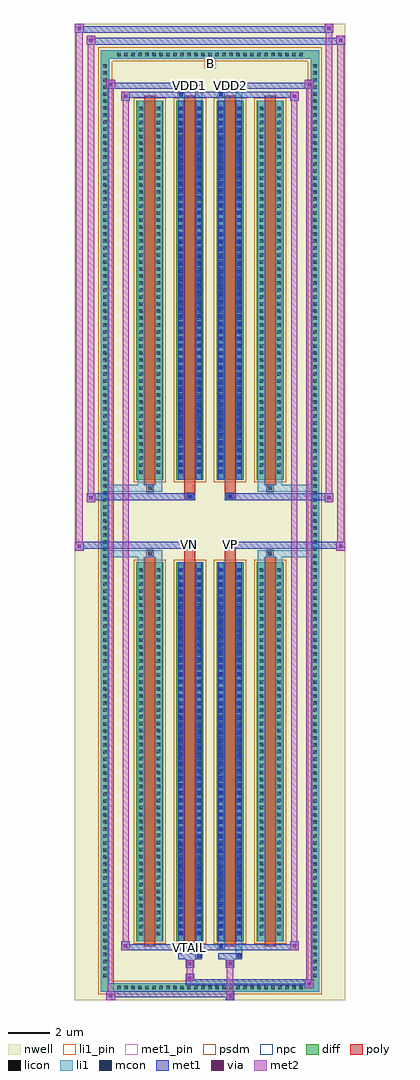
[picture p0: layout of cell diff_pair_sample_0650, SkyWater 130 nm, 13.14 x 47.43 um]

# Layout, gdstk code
import gdstk
lib = gdstk.Library(unit=1e-6, precision=5e-09)
def R(c, l, rs):  # rectangles x0, y0, x1, y1
    for r in rs: c.add(gdstk.rectangle(r[:2], r[2:], *l))
def A(c, l, x, y, w, h, nx, ny, dx, dy):  # array of equal rectangles
    R(c, l, [(x+i*dx, y+j*dy, x+i*dx+w, y+j*dy+h) for i in range(nx) for j in range(ny)])
def P(c, l, *ps):  # polygons
    for p in ps: c.add(gdstk.Polygon(p, *l))
nwell = (64, 20)
diff = (65, 20)
poly = (66, 20)
licon = (66, 44)
li1_pin = (67, 16)
li1 = (67, 20)
mcon = (67, 44)
met1_pin = (68, 16)
met1 = (68, 20)
via = (68, 44)
met2 = (69, 20)
psdm = (94, 20)
npc = (95, 20)

diff_pair_sample_0650 = lib.new_cell('diff_pair_sample_0650')
R(diff_pair_sample_0650, nwell, [(-6.57,-23.28,6.57,24.15), (-3.89,-21.47,-0.01,-0.815), (0.01,-21.47,3.89,-0.815), (-3.89,0.815,-0.01,21.47), (0.01,0.815,3.89,21.47)])
A(diff_pair_sample_0650, diff, -4.625, -22.88, 0.41, 0.41, 27, 2, 0.34, 45.35)
A(diff_pair_sample_0650, diff, -5.3, -22.305, 0.41, 0.41, 1, 131, 0, 0.34)
A(diff_pair_sample_0650, diff, 4.89, -22.305, 0.41, 0.41, 1, 131, 0, 0.34)
A(diff_pair_sample_0650, diff, -3.58, -20.425, 1.31, 18.42, 4, 2, 1.95, 22.43)
R(diff_pair_sample_0650, diff, [(-4.625,-22.88,4.625,-22.47), (-5.3,-22.305,-4.89,22.305), (4.89,-22.305,5.3,22.305), (-4.625,22.47,4.625,22.88)])
P(diff_pair_sample_0650, diff, [(5.3,22.88),(-5.3,22.88),(-5.3,-22.47),(-4.89,-22.47),(-4.89,22.47),(4.89,22.47),(4.89,-22.47),(-4.89,-22.47),(-5.3,-22.47),(-5.3,-22.88),(5.3,-22.88)])
A(diff_pair_sample_0650, poly, -3.19, -20.675, 0.53, 18.92, 4, 2, 1.95, 22.43)
R(diff_pair_sample_0650, poly, [(-3.09,-1.755,-2.76,-1.425), (-3.09,-1.755,-2.76,-1.425), (-1.24,-1.755,-0.71,-1.345), (0.71,-1.755,1.24,-1.345), (2.76,-1.755,3.09,-1.425), (2.76,-1.755,3.09,-1.425), (-1.24,-1.345,-0.71,-1.015), (-1.14,-1.345,-0.81,-1.015), (0.71,-1.345,1.24,-1.015), (0.81,-1.345,1.14,-1.015), (-1.24,1.015,-0.71,1.345), (-1.14,1.015,-0.81,1.345), (0.71,1.015,1.24,1.345), (0.81,1.015,1.14,1.345), (-1.24,1.345,-0.71,1.755), (0.71,1.345,1.24,1.755), (-3.09,1.425,-2.76,1.755), (-3.09,1.425,-2.76,1.755), (2.76,1.425,3.09,1.755), (2.76,1.425,3.09,1.755)])
A(diff_pair_sample_0650, licon, -4.505, -22.76, 0.17, 0.17, 27, 2, 0.34, 45.35)
A(diff_pair_sample_0650, licon, -5.18, -22.185, 0.17, 0.17, 1, 131, 0, 0.34)
A(diff_pair_sample_0650, licon, 5.01, -22.185, 0.17, 0.17, 1, 131, 0, 0.34)
A(diff_pair_sample_0650, licon, -3.44, -20.14, 0.17, 0.17, 1, 53, 0, 0.34)
A(diff_pair_sample_0650, licon, -2.58, -20.14, 0.17, 0.17, 1, 53, 0, 0.34)
A(diff_pair_sample_0650, licon, -1.49, -20.14, 0.17, 0.17, 1, 53, 0, 0.34)
A(diff_pair_sample_0650, licon, -0.63, -20.14, 0.17, 0.17, 1, 53, 0, 0.34)
A(diff_pair_sample_0650, licon, 0.46, -20.14, 0.17, 0.17, 1, 53, 0, 0.34)
A(diff_pair_sample_0650, licon, 1.32, -20.14, 0.17, 0.17, 1, 53, 0, 0.34)
A(diff_pair_sample_0650, licon, 2.41, -20.14, 0.17, 0.17, 1, 53, 0, 0.34)
A(diff_pair_sample_0650, licon, 3.27, -20.14, 0.17, 0.17, 1, 53, 0, 0.34)
A(diff_pair_sample_0650, licon, -3.44, 2.29, 0.17, 0.17, 1, 53, 0, 0.34)
A(diff_pair_sample_0650, licon, -2.58, 2.29, 0.17, 0.17, 1, 53, 0, 0.34)
A(diff_pair_sample_0650, licon, -1.49, 2.29, 0.17, 0.17, 1, 53, 0, 0.34)
A(diff_pair_sample_0650, licon, -0.63, 2.29, 0.17, 0.17, 1, 53, 0, 0.34)
A(diff_pair_sample_0650, licon, 0.46, 2.29, 0.17, 0.17, 1, 53, 0, 0.34)
A(diff_pair_sample_0650, licon, 1.32, 2.29, 0.17, 0.17, 1, 53, 0, 0.34)
A(diff_pair_sample_0650, licon, 2.41, 2.29, 0.17, 0.17, 1, 53, 0, 0.34)
A(diff_pair_sample_0650, licon, 3.27, 2.29, 0.17, 0.17, 1, 53, 0, 0.34)
R(diff_pair_sample_0650, licon, [(-3.01,-1.675,-2.84,-1.505), (2.84,-1.675,3.01,-1.505), (-1.06,-1.265,-0.89,-1.095), (0.89,-1.265,1.06,-1.095), (-1.06,1.095,-0.89,1.265), (0.89,1.095,1.06,1.265), (-3.01,1.505,-2.84,1.675), (2.84,1.505,3.01,1.675)])
R(diff_pair_sample_0650, li1_pin, [(-0.25,21.97,0.25,22.47)])
A(diff_pair_sample_0650, li1, -4.585, -22.84, 0.33, 0.33, 27, 2, 0.34, 45.35)
A(diff_pair_sample_0650, li1, -5.26, -22.265, 0.33, 0.33, 1, 131, 0, 0.34)
A(diff_pair_sample_0650, li1, 4.93, -22.265, 0.33, 0.33, 1, 131, 0, 0.34)
A(diff_pair_sample_0650, li1, -3.52, -20.22, 0.33, 0.33, 1, 53, 0, 0.34)
A(diff_pair_sample_0650, li1, -2.66, -20.22, 0.33, 0.33, 1, 53, 0, 0.34)
A(diff_pair_sample_0650, li1, -1.57, -20.22, 0.33, 0.33, 1, 53, 0, 0.34)
A(diff_pair_sample_0650, li1, -0.71, -20.22, 0.33, 0.33, 1, 53, 0, 0.34)
A(diff_pair_sample_0650, li1, 0.38, -20.22, 0.33, 0.33, 1, 53, 0, 0.34)
A(diff_pair_sample_0650, li1, 1.24, -20.22, 0.33, 0.33, 1, 53, 0, 0.34)
A(diff_pair_sample_0650, li1, 2.33, -20.22, 0.33, 0.33, 1, 53, 0, 0.34)
A(diff_pair_sample_0650, li1, 3.19, -20.22, 0.33, 0.33, 1, 53, 0, 0.34)
A(diff_pair_sample_0650, li1, -1.49, -20.12, 0.17, 0.17, 1, 50, 0, 0.36)
A(diff_pair_sample_0650, li1, -0.63, -20.12, 0.17, 0.17, 1, 50, 0, 0.36)
A(diff_pair_sample_0650, li1, 0.46, -20.12, 0.17, 0.17, 1, 50, 0, 0.36)
A(diff_pair_sample_0650, li1, 1.32, -20.12, 0.17, 0.17, 1, 50, 0, 0.36)
A(diff_pair_sample_0650, li1, -3.52, 2.21, 0.33, 0.33, 1, 53, 0, 0.34)
A(diff_pair_sample_0650, li1, -2.66, 2.21, 0.33, 0.33, 1, 53, 0, 0.34)
A(diff_pair_sample_0650, li1, -1.57, 2.21, 0.33, 0.33, 1, 53, 0, 0.34)
A(diff_pair_sample_0650, li1, -0.71, 2.21, 0.33, 0.33, 1, 53, 0, 0.34)
A(diff_pair_sample_0650, li1, 0.38, 2.21, 0.33, 0.33, 1, 53, 0, 0.34)
A(diff_pair_sample_0650, li1, 1.24, 2.21, 0.33, 0.33, 1, 53, 0, 0.34)
A(diff_pair_sample_0650, li1, 2.33, 2.21, 0.33, 0.33, 1, 53, 0, 0.34)
A(diff_pair_sample_0650, li1, 3.19, 2.21, 0.33, 0.33, 1, 53, 0, 0.34)
A(diff_pair_sample_0650, li1, -1.49, 2.31, 0.17, 0.17, 1, 50, 0, 0.36)
A(diff_pair_sample_0650, li1, -0.63, 2.31, 0.17, 0.17, 1, 50, 0, 0.36)
A(diff_pair_sample_0650, li1, 0.46, 2.31, 0.17, 0.17, 1, 50, 0, 0.36)
A(diff_pair_sample_0650, li1, 1.32, 2.31, 0.17, 0.17, 1, 50, 0, 0.36)
R(diff_pair_sample_0650, li1, [(-5.3,-22.88,-4.89,-22.47), (-5.3,-22.88,-4.89,-22.47), (-4.89,-22.88,4.89,-22.47), (4.89,-22.88,5.3,-22.47), (4.89,-22.88,5.3,-22.47), (-5.3,-22.47,-4.89,22.47), (4.89,-22.47,5.3,22.47), (-0.71,-21.23,-0.38,-20.425), (-0.63,-21.23,-0.46,-21.06), (1.24,-21.23,1.57,-20.425), (1.32,-21.23,1.49,-21.06), (-1.57,-20.8,-1.24,-20.425), (-1.49,-20.8,-1.32,-20.63), (0.38,-20.8,0.71,-20.425), (0.46,-20.8,0.63,-20.63), (-3.52,-20.425,-3.19,-2.005), (-2.66,-20.425,-2.33,-2.005), (-1.57,-20.425,-1.24,-2.005), (-0.71,-20.425,-0.38,-2.005), (0.38,-20.425,0.71,-2.005), (1.24,-20.425,1.57,-2.005), (2.33,-20.425,2.66,-2.005), (3.19,-20.425,3.52,-2.005), (-1.49,-20.12,-1.32,-2.31), (-0.63,-20.12,-0.46,-2.31), (0.46,-20.12,0.63,-2.31), (1.32,-20.12,1.49,-2.31), (-3.52,-2.005,-3.19,-1.425), (-2.66,-2.005,-2.33,-1.425), (2.33,-2.005,2.66,-1.425), (3.19,-2.005,3.52,-1.425), (-5.3,-1.755,-3.09,-1.425), (-3.52,-1.755,-3.09,-1.425), (-3.09,-1.755,-2.76,-1.425), (-2.76,-1.755,-2.33,-1.425), (2.33,-1.755,2.76,-1.425), (2.76,-1.755,3.09,-1.425), (2.76,-1.755,5.3,-1.425), (3.09,-1.755,3.52,-1.425), (-1.14,-1.345,-0.81,-1.015), (0.81,-1.345,1.14,-1.015), (-1.14,1.015,-0.81,1.345), (0.81,1.015,1.14,1.345), (-5.3,1.425,-3.09,1.755), (-3.52,1.425,-3.09,1.755), (-3.52,1.425,-3.19,2.005), (-3.09,1.425,-2.76,1.755), (-2.76,1.425,-2.33,1.755), (-2.66,1.425,-2.33,2.005), (2.33,1.425,2.76,1.755), (2.33,1.425,2.66,2.005), (2.76,1.425,3.09,1.755), (2.76,1.425,5.3,1.755), (3.09,1.425,3.52,1.755), (3.19,1.425,3.52,2.005), (-3.52,2.005,-3.19,20.425), (-2.66,2.005,-2.33,20.425), (-1.57,2.005,-1.24,20.425), (-0.71,2.005,-0.38,20.425), (0.38,2.005,0.71,20.425), (1.24,2.005,1.57,20.425), (2.33,2.005,2.66,20.425), (3.19,2.005,3.52,20.425), (-1.49,2.31,-1.32,20.12), (-0.63,2.31,-0.46,20.12), (0.46,2.31,0.63,20.12), (1.32,2.31,1.49,20.12), (-1.57,20.425,-1.24,20.8), (-0.71,20.425,-0.38,21.23), (0.38,20.425,0.71,20.8), (1.24,20.425,1.57,21.23), (-1.49,20.63,-1.32,20.8), (0.46,20.63,0.63,20.8), (-0.63,21.06,-0.46,21.23), (1.32,21.06,1.49,21.23), (-5.3,22.47,-4.89,22.88), (-5.3,22.47,-4.89,22.88), (-4.89,22.47,4.89,22.88), (4.89,22.47,5.3,22.88), (4.89,22.47,5.3,22.88)])
A(diff_pair_sample_0650, mcon, -1.49, -20.12, 0.17, 0.17, 1, 50, 0, 0.36)
A(diff_pair_sample_0650, mcon, -0.63, -20.12, 0.17, 0.17, 1, 50, 0, 0.36)
A(diff_pair_sample_0650, mcon, 0.46, -20.12, 0.17, 0.17, 1, 50, 0, 0.36)
A(diff_pair_sample_0650, mcon, 1.32, -20.12, 0.17, 0.17, 1, 50, 0, 0.36)
A(diff_pair_sample_0650, mcon, -1.49, 2.31, 0.17, 0.17, 1, 50, 0, 0.36)
A(diff_pair_sample_0650, mcon, -0.63, 2.31, 0.17, 0.17, 1, 50, 0, 0.36)
A(diff_pair_sample_0650, mcon, 0.46, 2.31, 0.17, 0.17, 1, 50, 0, 0.36)
A(diff_pair_sample_0650, mcon, 1.32, 2.31, 0.17, 0.17, 1, 50, 0, 0.36)
R(diff_pair_sample_0650, mcon, [(-0.63,-21.23,-0.46,-21.06), (1.32,-21.23,1.49,-21.06), (-1.49,-20.8,-1.32,-20.63), (0.46,-20.8,0.63,-20.63), (-1.06,-1.265,-0.89,-1.095), (0.89,-1.265,1.06,-1.095), (-1.06,1.095,-0.89,1.265), (0.89,1.095,1.06,1.265), (-1.49,20.63,-1.32,20.8), (0.46,20.63,0.63,20.8), (-0.63,21.06,-0.46,21.23), (1.32,21.06,1.49,21.23)])
R(diff_pair_sample_0650, met1_pin, [(-1.11,-20.84,-0.84,-20.57), (-1.11,-1.285,-0.84,-1.015), (0.84,-1.285,1.11,-1.015), (-1.11,21.02,-0.84,21.29), (0.84,21.02,1.11,21.29)])
A(diff_pair_sample_0650, met1, -1.55, -20.18, 0.29, 0.29, 1, 50, 0, 0.36)
A(diff_pair_sample_0650, met1, -0.69, -20.18, 0.29, 0.29, 1, 50, 0, 0.36)
A(diff_pair_sample_0650, met1, 0.4, -20.18, 0.29, 0.29, 1, 50, 0, 0.36)
A(diff_pair_sample_0650, met1, 1.26, -20.18, 0.29, 0.29, 1, 50, 0, 0.36)
A(diff_pair_sample_0650, met1, -1.55, 2.25, 0.29, 0.29, 1, 50, 0, 0.36)
A(diff_pair_sample_0650, met1, -0.69, 2.25, 0.29, 0.29, 1, 50, 0, 0.36)
A(diff_pair_sample_0650, met1, 0.4, 2.25, 0.29, 0.29, 1, 50, 0, 0.36)
A(diff_pair_sample_0650, met1, 1.26, 2.25, 0.29, 0.29, 1, 50, 0, 0.36)
R(diff_pair_sample_0650, met1, [(-5.03,-23.28,-4.6,-22.85), (0.76,-23.28,1.19,-22.85), (-5.03,-23.14,1.19,-22.85), (4.6,-22.71,5.03,-22.28), (-1.19,-22.57,5.03,-22.28), (-1.19,-22.43,-0.76,-22), (-1.19,-21.72,-0.76,-21.29), (0.76,-21.72,1.19,-21.29), (-1.55,-21.29,-0.4,-21), (-0.69,-21.29,-0.4,-21), (0.4,-21.29,1.55,-21), (1.26,-21.29,1.55,-21), (-4.32,-20.86,-3.89,-20.43), (-4.32,-20.86,-1.55,-20.57), (-1.55,-20.86,-1.26,-20.57), (-1.55,-20.86,-0.4,-20.57), (-0.4,-20.86,0.4,-20.57), (0.4,-20.86,0.69,-20.57), (0.4,-20.86,1.55,-20.57), (1.55,-20.86,4.32,-20.57), (3.89,-20.86,4.32,-20.43), (-1.55,-20.425,-1.26,-2.005), (-0.69,-20.425,-0.4,-2.005), (0.4,-20.425,0.69,-2.005), (1.26,-20.425,1.55,-2.005), (-6.57,-1.445,-6.14,-1.015), (6.14,-1.445,6.57,-1.015), (-6.57,-1.345,-0.71,-1.015), (-1.24,-1.345,-0.71,-1.015), (0.71,-1.345,1.24,-1.015), (0.71,-1.345,6.57,-1.015), (-1.12,-1.325,-0.83,-1.035), (0.83,-1.325,1.12,-1.035), (-6,0.915,-5.57,1.345), (5.57,0.915,6,1.345), (-6,1.015,-1.24,1.345), (-1.24,1.015,-0.71,1.345), (0.71,1.015,1.24,1.345), (1.24,1.015,6,1.345), (-1.12,1.035,-0.83,1.325), (0.83,1.035,1.12,1.325), (-1.55,2.005,-1.26,20.425), (-0.69,2.005,-0.4,20.425), (0.4,2.005,0.69,20.425), (1.26,2.005,1.55,20.425), (-4.32,20.43,-3.89,20.86), (3.89,20.43,4.32,20.86), (-4.32,20.57,-1.55,20.86), (-1.55,20.57,-1.26,20.86), (-1.55,20.57,-0.4,20.86), (-0.4,20.57,0.4,20.86), (0.4,20.57,0.69,20.86), (0.4,20.57,1.55,20.86), (1.55,20.57,4.32,20.86), (-5.03,21,-4.6,21.43), (-5.03,21,-1.55,21.29), (-1.55,21,-0.4,21.29), (-0.69,21,-0.4,21.29), (0.4,21,1.55,21.29), (1.26,21,1.55,21.29), (1.55,21,5.03,21.29), (4.6,21,5.03,21.43), (-6,23.15,-5.57,23.58), (-6,23.15,-3.89,23.48), (-3.89,23.15,3.89,23.48), (3.89,23.15,6.57,23.48), (6.14,23.15,6.57,23.58), (-6.57,23.72,-6.14,24.15), (-6.57,23.72,-3.89,24.05), (-3.89,23.72,3.89,24.05), (3.89,23.72,6,24.05), (5.57,23.72,6,24.15)])
R(diff_pair_sample_0650, via, [(-4.89,-23.14,-4.74,-22.99), (0.9,-23.14,1.05,-22.99), (4.74,-22.57,4.89,-22.42), (-1.05,-22.29,-0.9,-22.14), (-1.05,-21.58,-0.9,-21.43), (0.9,-21.58,1.05,-21.43), (-4.18,-20.72,-4.03,-20.57), (4.03,-20.72,4.18,-20.57), (-6.43,-1.305,-6.28,-1.155), (6.28,-1.305,6.43,-1.155), (-5.86,1.055,-5.71,1.205), (5.71,1.055,5.86,1.205), (-4.18,20.57,-4.03,20.72), (4.03,20.57,4.18,20.72), (-4.89,21.14,-4.74,21.29), (4.74,21.14,4.89,21.29), (-5.86,23.29,-5.71,23.44), (6.28,23.29,6.43,23.44), (-6.43,23.86,-6.28,24.01), (5.71,23.86,5.86,24.01)])
R(diff_pair_sample_0650, met2, [(-5.03,-23.28,-4.6,-22.85), (-4.96,-23.28,-4.67,21.43), (-4.67,-23.28,-4.6,-22.85), (-4.98,-23.23,-4.65,-22.9), (0.81,-23.23,1.14,-22.9), (0.81,-22.9,1.14,-21.67), (4.6,-22.71,5.03,-22.28), (4.67,-22.71,4.96,21.43), (4.96,-22.71,5.03,-22.28), (4.65,-22.66,4.98,-22.33), (-1.14,-22.38,-0.81,-22.05), (-1.14,-22.05,-0.81,-21.67), (-1.14,-21.67,-0.81,-21.34), (0.81,-21.67,1.14,-21.34), (-4.32,-20.86,-3.89,-20.43), (-4.25,-20.86,-3.96,20.86), (-3.96,-20.86,-3.89,-20.43), (3.89,-20.86,4.32,-20.43), (3.96,-20.86,4.25,20.86), (4.25,-20.86,4.32,-20.43), (-4.27,-20.81,-3.94,-20.48), (3.94,-20.81,4.27,-20.48), (-6.57,-1.445,-6.14,-1.015), (-6.52,-1.445,-6.19,24.15), (-6.19,-1.445,-6.14,-1.015), (6.14,-1.445,6.57,-1.015), (6.19,-1.445,6.52,23.58), (6.52,-1.445,6.57,-1.015), (-6.52,-1.395,-6.19,-1.065), (6.19,-1.395,6.52,-1.065), (-6,0.915,-5.57,1.345), (-5.95,0.915,-5.62,23.58), (-5.62,0.915,-5.57,1.345), (5.57,0.915,6,1.345), (5.62,0.915,5.95,24.15), (5.95,0.915,6,1.345), (-5.95,0.965,-5.62,1.295), (5.62,0.965,5.95,1.295), (-4.32,20.43,-3.89,20.86), (-3.96,20.43,-3.89,20.86), (3.89,20.43,4.32,20.86), (4.25,20.43,4.32,20.86), (-4.27,20.48,-3.94,20.81), (3.94,20.48,4.27,20.81), (-5.03,21,-4.6,21.43), (-4.67,21,-4.6,21.43), (4.6,21,5.03,21.43), (4.96,21,5.03,21.43), (-4.98,21.05,-4.65,21.38), (4.65,21.05,4.98,21.38), (-6,23.15,-5.57,23.58), (-5.62,23.15,-5.57,23.58), (6.14,23.15,6.57,23.58), (6.52,23.15,6.57,23.58), (-5.95,23.2,-5.62,23.53), (6.19,23.2,6.52,23.53), (-6.57,23.72,-6.14,24.15), (-6.19,23.72,-6.14,24.15), (5.57,23.72,6,24.15), (5.95,23.72,6,24.15), (-6.52,23.77,-6.19,24.1), (5.62,23.77,5.95,24.1)])
A(diff_pair_sample_0650, psdm, -3.71, -20.555, 1.57, 18.68, 4, 2, 1.95, 22.43)
P(diff_pair_sample_0650, psdm, [(5.43,23.01),(-5.43,23.01),(-5.43,-22.34),(-4.76,-22.34),(-4.76,22.34),(4.76,22.34),(4.76,-22.34),(-4.76,-22.34),(-5.43,-22.34),(-5.43,-23.01),(5.43,-23.01)])
R(diff_pair_sample_0650, npc, [(-3.11,-1.775,-2.74,-1.405), (2.74,-1.775,3.11,-1.405), (-1.16,-1.365,-0.79,-0.995), (0.79,-1.365,1.16,-0.995), (-1.16,0.995,-0.79,1.365), (0.79,0.995,1.16,1.365), (-3.11,1.405,-2.74,1.775), (2.74,1.405,3.11,1.775)])
diff_pair_sample_0650.add(gdstk.Label('VTAIL', (-0.975,-20.705), layer=68, texttype=5))
diff_pair_sample_0650.add(gdstk.Label('VN', (-0.975,-1.15), layer=68, texttype=5))
diff_pair_sample_0650.add(gdstk.Label('VP', (0.975,-1.15), layer=68, texttype=5))
diff_pair_sample_0650.add(gdstk.Label('B', (0,22.22), layer=67, texttype=5))
diff_pair_sample_0650.add(gdstk.Label('VDD2', (0.975,21.155), layer=68, texttype=5))
diff_pair_sample_0650.add(gdstk.Label('VDD1', (-0.975,21.155), layer=68, texttype=5))

lib.write_gds('diff_pair_sample_0650.gds')
